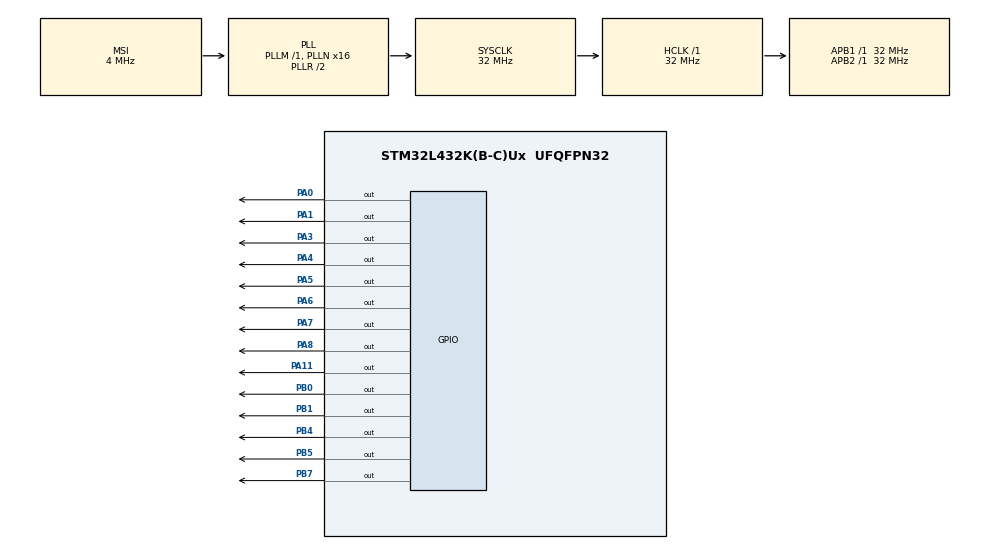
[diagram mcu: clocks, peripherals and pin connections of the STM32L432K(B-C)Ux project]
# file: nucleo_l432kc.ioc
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Mcu.Family=STM32L4
Mcu.Name=STM32L432K(B-C)Ux
Mcu.Package=UFQFPN32
NVIC.PriorityGroup=NVIC_PRIORITYGROUP_4
NVIC.TIM1_BRK_TIM15_IRQn=true\:0\:0\:false\:false\:true\:true\:true\:true
NVIC.TIM1_CC_IRQn=true\:0\:0\:false\:false\:true\:true\:true\:true
NVIC.TIM1_UP_TIM16_IRQn=true\:0\:0\:false\:false\:true\:true\:true\:true
NVIC.TIM2_IRQn=true\:0\:0\:false\:false\:true\:true\:true\:true
PA0.Signal=GPIO_Output
PA1.Signal=GPIO_Output
PA11.Signal=GPIO_Output
PA13\ (JTMS-SWDIO).GPIO_Label=SWDIO
PA13\ (JTMS-SWDIO).Mode=Serial_Wire
PA13\ (JTMS-SWDIO).Signal=SYS_JTMS-SWDIO
PA14\ (JTCK-SWCLK).GPIO_Label=SWCLK
PA14\ (JTCK-SWCLK).Mode=Serial_Wire
PA14\ (JTCK-SWCLK).Signal=SYS_JTCK-SWCLK
PA2.GPIO_Label=VCP_TX
PA2.Signal=USART2_TX
PA3.Signal=GPIO_Output
PA4.Signal=GPIO_Output
PA5.Signal=GPIO_Output
PA6.Signal=GPIO_Output
PA7.Signal=GPIO_Output
PA8.Signal=GPIO_Output
PB0.Signal=GPIO_Output
PB1.Signal=GPIO_Output
PB4\ (NJTRST).Signal=GPIO_Output
PB5.Signal=GPIO_Output
PB7.Signal=GPIO_Output
PC14-OSC32_IN\ (PC14).Mode=LSE-External-Oscillator
PC14-OSC32_IN\ (PC14).Signal=RCC_OSC32_IN
PC15-OSC32_OUT\ (PC15).Mode=LSE-External-Oscillator
PC15-OSC32_OUT\ (PC15).Signal=RCC_OSC32_OUT
ProjectManager.HeapSize=0x200
ProjectManager.StackSize=0x400
ProjectManager.TargetToolchain=STM32CubeIDE
RCC.AHBFreq_Value=32000000
RCC.APB1Freq_Value=32000000
RCC.APB1TimFreq_Value=32000000
RCC.APB2Freq_Value=32000000
RCC.APB2TimFreq_Value=32000000
RCC.CortexFreq_Value=32000000
RCC.HCLKFreq_Value=32000000
RCC.HSE_VALUE=8000000
RCC.HSI16_VALUE=16000000
RCC.HSI48_VALUE=48000000
RCC.HSI_VALUE=16000000
RCC.MSI_VALUE=4000000
RCC.PLLMUL=RCC_PLLMUL_4
RCC.PLLN=16
RCC.SYSCLKFreq_VALUE=32000000
RCC.SYSCLKSource=RCC_SYSCLKSOURCE_PLLCLK
RCC.VCOOutputFreq_Value=64000000
TIM1.Channel-PWM\ Generation1\ No\ Output=TIM_CHANNEL_1
TIM1.Channel-PWM\ Generation2\ No\ Output=TIM_CHANNEL_2
TIM1.Channel-PWM\ Generation3\ No\ Output=TIM_CHANNEL_3
TIM1.Channel-PWM\ Generation4\ No\ Output=TIM_CHANNEL_4
TIM1.Period=20000-1
TIM1.Prescaler=80-1
TIM15.Channel-PWM\ Generation1\ No\ Output=TIM_CHANNEL_1
TIM16.Channel=TIM_CHANNEL_1
TIM2.Channel-PWM\ Generation1\ No\ Output=TIM_CHANNEL_1
TIM2.Channel-PWM\ Generation2\ No\ Output=TIM_CHANNEL_2
TIM2.Channel-PWM\ Generation3\ No\ Output=TIM_CHANNEL_3
TIM2.Channel-PWM\ Generation4\ No\ Output=TIM_CHANNEL_4
TIM2.Period=255
TIM2.Prescaler=1040
VP_TIM15_VS_no_output1.Mode=PWM Generation1 No Output
VP_TIM16_VS_ClockSourceINT.Mode=Enable_Timer
VP_TIM16_VS_no_output1.Mode=PWM Generation1 No Output
VP_TIM1_VS_no_output1.Mode=PWM Generation1 No Output
VP_TIM1_VS_no_output2.Mode=PWM Generation2 No Output
VP_TIM1_VS_no_output3.Mode=PWM Generation3 No Output
VP_TIM1_VS_no_output4.Mode=PWM Generation4 No Output
VP_TIM2_VS_no_output1.Mode=PWM Generation1 No Output
VP_TIM2_VS_no_output2.Mode=PWM Generation2 No Output
VP_TIM2_VS_no_output3.Mode=PWM Generation3 No Output
VP_TIM2_VS_no_output4.Mode=PWM Generation4 No Output
board=NUCLEO-L432KC

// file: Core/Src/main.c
/* USER CODE BEGIN Header */
/**
  ******************************************************************************
  * @file           : main.c
  * @brief          : Main program body
  ******************************************************************************
  * @attention
  *
  * Copyright (c) 2024 STMicroelectronics.
  * All rights reserved.
  *
  * This software is licensed under terms that can be found in the LICENSE file
  * in the root directory of this software component.
  * If no LICENSE file comes with this software, it is provided AS-IS.
  *
  ******************************************************************************
  */
/* USER CODE END Header */
#include "main.h"

TIM_HandleTypeDef htim1;
TIM_HandleTypeDef htim2;
TIM_HandleTypeDef htim15;
TIM_HandleTypeDef htim16;

void SystemClock_Config(void);
static void MX_GPIO_Init(void);
static void MX_TIM1_Init(void);
static void MX_TIM2_Init(void);
static void MX_TIM15_Init(void);
static void MX_TIM16_Init(void);

/* USER CODE BEGIN 0 */

void HAL_TIM_PWM_PulseFinishedCallback(TIM_HandleTypeDef* htim){

	//HAL_GPIO_WritePin(GPIOA, GPIO_PIN_11, 0);

	if(htim->Instance == TIM1 ){
		if(htim->Channel == HAL_TIM_ACTIVE_CHANNEL_2){
					HAL_GPIO_WritePin(GPIOA, GPIO_PIN_11, 0);
			} //funziona D10
		if(htim->Channel == HAL_TIM_ACTIVE_CHANNEL_3){
					HAL_GPIO_WritePin(GPIOA, GPIO_PIN_3, 0);
			} //funziona A2
		if(htim->Channel == HAL_TIM_ACTIVE_CHANNEL_4){
					HAL_GPIO_WritePin(GPIOA, GPIO_PIN_8, 0);
			} // funziona D9

		if(htim->Channel == HAL_TIM_ACTIVE_CHANNEL_1){
					HAL_GPIO_WritePin(GPIOB, GPIO_PIN_1, 0);
				} // funziona D6, rimane un mistero perchè TIM1 channel5 e channel6 non generano PWM
	}

	if(htim->Instance == TIM2){
		if(htim->Channel == HAL_TIM_ACTIVE_CHANNEL_1){
					HAL_GPIO_WritePin(GPIOA, GPIO_PIN_0, 0);
			} //funziona A0
		if(htim->Channel == HAL_TIM_ACTIVE_CHANNEL_3){
					HAL_GPIO_WritePin(GPIOA, GPIO_PIN_6, 0);
			} //funziona A5
		if(htim->Channel == HAL_TIM_ACTIVE_CHANNEL_4){
					HAL_GPIO_WritePin(GPIOA, GPIO_PIN_4, 0);
			} //funzione A3
		if(htim->Channel == HAL_TIM_ACTIVE_CHANNEL_2){
					HAL_GPIO_WritePin(GPIOB, GPIO_PIN_0, 0);
			} //funziona D3
	}
	if(htim->Instance == TIM15){
		if(htim->Channel == HAL_TIM_ACTIVE_CHANNEL_1){
			HAL_GPIO_WritePin(GPIOA, GPIO_PIN_1, 0);
		}
	}
	if(htim->Instance == TIM16){
		if(htim->Channel == HAL_TIM_ACTIVE_CHANNEL_1){
			HAL_GPIO_WritePin(GPIOA, GPIO_PIN_7, 0);
		}
	}
}

void HAL_TIM_PeriodElapsedCallback(TIM_HandleTypeDef* htim){

	 if (htim->Instance == TIM2)
   {

       HAL_GPIO_WritePin(GPIOA, GPIO_PIN_0, 1);
       HAL_GPIO_WritePin(GPIOA, GPIO_PIN_6, 1);
       HAL_GPIO_WritePin(GPIOA, GPIO_PIN_4, 1);
       HAL_GPIO_WritePin(GPIOB, GPIO_PIN_0, 1);
   }

	if (htim->Instance == TIM1){
    	HAL_GPIO_WritePin(GPIOA, GPIO_PIN_11, 1);
    	HAL_GPIO_WritePin(GPIOA, GPIO_PIN_3, 1);
    	HAL_GPIO_WritePin(GPIOA, GPIO_PIN_8, 1);
    	HAL_GPIO_WritePin(GPIOB, GPIO_PIN_1, 1);

    }
	if (htim->Instance == TIM15){
		HAL_GPIO_WritePin(GPIOA, GPIO_PIN_1, 1);
	}
	if (htim->Instance == TIM16){
		HAL_GPIO_WritePin(GPIOA, GPIO_PIN_7, 1);
	}
}

/* USER CODE END 0 */

int main(void)
{

  /* MCU Configuration--------------------------------------------------------*/

  /* Reset of all peripherals, Initializes the Flash interface and the Systick. */
  HAL_Init();

  /* Configure the system clock */
  SystemClock_Config();

  /* Initialize all configured peripherals */
  MX_GPIO_Init();
  MX_TIM1_Init();
  MX_TIM2_Init();
  MX_TIM15_Init();
  MX_TIM16_Init();
  /* USER CODE BEGIN 2 */

  //functions that call PeriodElapsedCallback

  HAL_TIM_Base_Start_IT(&htim2);
  HAL_TIM_Base_Start_IT(&htim1);
  HAL_TIM_Base_Start_IT(&htim15);
  HAL_TIM_Base_Start_IT(&htim16);

  //functions that call PulseFinishedCallback
  HAL_TIM_OC_Start_IT(&htim2,TIM_CHANNEL_1);
  HAL_TIM_OC_Start_IT(&htim2,TIM_CHANNEL_2);
  HAL_TIM_OC_Start_IT(&htim2,TIM_CHANNEL_3);
  HAL_TIM_OC_Start_IT(&htim2,TIM_CHANNEL_4);

  //HAL_TIM_OC_Start_IT(&htim1,TIM_CHANNEL_1);
  HAL_TIM_OC_Start_IT(&htim1,TIM_CHANNEL_1);
  HAL_TIM_OC_Start_IT(&htim1,TIM_CHANNEL_2);
  HAL_TIM_OC_Start_IT(&htim1,TIM_CHANNEL_3);
  HAL_TIM_OC_Start_IT(&htim1,TIM_CHANNEL_4);

  HAL_TIM_OC_Start_IT(&htim15,TIM_CHANNEL_1);
  HAL_TIM_OC_Start_IT(&htim16,TIM_CHANNEL_1);

  htim2.Instance->CCR1=1500;
  htim2.Instance->CCR2=1500;
  htim2.Instance->CCR3=1500;
  htim2.Instance->CCR4=1500;

  htim1.Instance->CCR1 = 1500;
  htim1.Instance->CCR2=1500;
  htim1.Instance->CCR3=1500;
  htim1.Instance->CCR4=1500;

  htim15.Instance->CCR1=127;

  htim16.Instance->CCR1=127;

  /* USER CODE END 2 */

  /* Infinite loop */
  while (1)
  {

  }
}

void SystemClock_Config(void)
{
  RCC_OscInitTypeDef RCC_OscInitStruct = {0};
  RCC_ClkInitTypeDef RCC_ClkInitStruct = {0};

  /** Configure the main internal regulator output voltage
  */
  if (HAL_PWREx_ControlVoltageScaling(PWR_REGULATOR_VOLTAGE_SCALE1) != HAL_OK)
  {
    Error_Handler();
  }

  /** Configure LSE Drive Capability
  */
  HAL_PWR_EnableBkUpAccess();
  __HAL_RCC_LSEDRIVE_CONFIG(RCC_LSEDRIVE_LOW);

  /** Initializes the RCC Oscillators according to the specified parameters
  * in the RCC_OscInitTypeDef structure.
  */
  RCC_OscInitStruct.OscillatorType = RCC_OSCILLATORTYPE_LSE|RCC_OSCILLATORTYPE_MSI;
  RCC_OscInitStruct.LSEState = RCC_LSE_ON;
  RCC_OscInitStruct.MSIState = RCC_MSI_ON;
  RCC_OscInitStruct.MSICalibrationValue = 0;
  RCC_OscInitStruct.MSIClockRange = RCC_MSIRANGE_6;
  RCC_OscInitStruct.PLL.PLLState = RCC_PLL_ON;
  RCC_OscInitStruct.PLL.PLLSource = RCC_PLLSOURCE_MSI;
  RCC_OscInitStruct.PLL.PLLM = 1;
  RCC_OscInitStruct.PLL.PLLN = 16;
  RCC_OscInitStruct.PLL.PLLP = RCC_PLLP_DIV7;
  RCC_OscInitStruct.PLL.PLLQ = RCC_PLLQ_DIV2;
  RCC_OscInitStruct.PLL.PLLR = RCC_PLLR_DIV2;
  if (HAL_RCC_OscConfig(&RCC_OscInitStruct) != HAL_OK)
  {
    Error_Handler();
  }

  /** Initializes the CPU, AHB and APB buses clocks
  */
  RCC_ClkInitStruct.ClockType = RCC_CLOCKTYPE_HCLK|RCC_CLOCKTYPE_SYSCLK
                              |RCC_CLOCKTYPE_PCLK1|RCC_CLOCKTYPE_PCLK2;
  RCC_ClkInitStruct.SYSCLKSource = RCC_SYSCLKSOURCE_PLLCLK;
  RCC_ClkInitStruct.AHBCLKDivider = RCC_SYSCLK_DIV1;
  RCC_ClkInitStruct.APB1CLKDivider = RCC_HCLK_DIV1;
  RCC_ClkInitStruct.APB2CLKDivider = RCC_HCLK_DIV1;

  if (HAL_RCC_ClockConfig(&RCC_ClkInitStruct, FLASH_LATENCY_1) != HAL_OK)
  {
    Error_Handler();
  }

  /** Enable MSI Auto calibration
  */
  HAL_RCCEx_EnableMSIPLLMode();
}

static void MX_TIM1_Init(void)
{

  TIM_MasterConfigTypeDef sMasterConfig = {0};
  TIM_OC_InitTypeDef sConfigOC = {0};
  TIM_BreakDeadTimeConfigTypeDef sBreakDeadTimeConfig = {0};

  htim1.Instance = TIM1;
  htim1.Init.Prescaler = 80-1;
  htim1.Init.CounterMode = TIM_COUNTERMODE_UP;
  htim1.Init.Period = 20000-1;
  htim1.Init.ClockDivision = TIM_CLOCKDIVISION_DIV1;
  htim1.Init.RepetitionCounter = 0;
  htim1.Init.AutoReloadPreload = TIM_AUTORELOAD_PRELOAD_DISABLE;
  if (HAL_TIM_PWM_Init(&htim1) != HAL_OK)
  {
    Error_Handler();
  }
  sMasterConfig.MasterOutputTrigger = TIM_TRGO_RESET;
  sMasterConfig.MasterOutputTrigger2 = TIM_TRGO2_RESET;
  sMasterConfig.MasterSlaveMode = TIM_MASTERSLAVEMODE_DISABLE;
  if (HAL_TIMEx_MasterConfigSynchronization(&htim1, &sMasterConfig) != HAL_OK)
  {
    Error_Handler();
  }
  sConfigOC.OCMode = TIM_OCMODE_PWM1;
  sConfigOC.Pulse = 0;
  sConfigOC.OCPolarity = TIM_OCPOLARITY_HIGH;
  sConfigOC.OCNPolarity = TIM_OCNPOLARITY_HIGH;
  sConfigOC.OCFastMode = TIM_OCFAST_DISABLE;
  sConfigOC.OCIdleState = TIM_OCIDLESTATE_RESET;
  sConfigOC.OCNIdleState = TIM_OCNIDLESTATE_RESET;
  if (HAL_TIM_PWM_ConfigChannel(&htim1, &sConfigOC, TIM_CHANNEL_1) != HAL_OK)
  {
    Error_Handler();
  }
  if (HAL_TIM_PWM_ConfigChannel(&htim1, &sConfigOC, TIM_CHANNEL_2) != HAL_OK)
  {
    Error_Handler();
  }
  if (HAL_TIM_PWM_ConfigChannel(&htim1, &sConfigOC, TIM_CHANNEL_3) != HAL_OK)
  {
    Error_Handler();
  }
  if (HAL_TIM_PWM_ConfigChannel(&htim1, &sConfigOC, TIM_CHANNEL_4) != HAL_OK)
  {
    Error_Handler();
  }
  sBreakDeadTimeConfig.OffStateRunMode = TIM_OSSR_DISABLE;
  sBreakDeadTimeConfig.OffStateIDLEMode = TIM_OSSI_DISABLE;
  sBreakDeadTimeConfig.LockLevel = TIM_LOCKLEVEL_OFF;
  sBreakDeadTimeConfig.DeadTime = 0;
  sBreakDeadTimeConfig.BreakState = TIM_BREAK_DISABLE;
  sBreakDeadTimeConfig.BreakPolarity = TIM_BREAKPOLARITY_HIGH;
  sBreakDeadTimeConfig.BreakFilter = 0;
  sBreakDeadTimeConfig.Break2State = TIM_BREAK2_DISABLE;
  sBreakDeadTimeConfig.Break2Polarity = TIM_BREAK2POLARITY_HIGH;
  sBreakDeadTimeConfig.Break2Filter = 0;
  sBreakDeadTimeConfig.AutomaticOutput = TIM_AUTOMATICOUTPUT_DISABLE;
  if (HAL_TIMEx_ConfigBreakDeadTime(&htim1, &sBreakDeadTimeConfig) != HAL_OK)
  {
    Error_Handler();
  }

}

static void MX_TIM2_Init(void)
{

  TIM_MasterConfigTypeDef sMasterConfig = {0};
  TIM_OC_InitTypeDef sConfigOC = {0};

  htim2.Instance = TIM2;
  htim2.Init.Prescaler = 1040;
  htim2.Init.CounterMode = TIM_COUNTERMODE_UP;
  htim2.Init.Period = 255;
  htim2.Init.ClockDivision = TIM_CLOCKDIVISION_DIV1;
  htim2.Init.AutoReloadPreload = TIM_AUTORELOAD_PRELOAD_DISABLE;
  if (HAL_TIM_PWM_Init(&htim2) != HAL_OK)
  {
    Error_Handler();
  }
  sMasterConfig.MasterOutputTrigger = TIM_TRGO_RESET;
  sMasterConfig.MasterSlaveMode = TIM_MASTERSLAVEMODE_DISABLE;
  if (HAL_TIMEx_MasterConfigSynchronization(&htim2, &sMasterConfig) != HAL_OK)
  {
    Error_Handler();
  }
  sConfigOC.OCMode = TIM_OCMODE_PWM1;
  sConfigOC.Pulse = 0;
  sConfigOC.OCPolarity = TIM_OCPOLARITY_HIGH;
  sConfigOC.OCFastMode = TIM_OCFAST_DISABLE;
  if (HAL_TIM_PWM_ConfigChannel(&htim2, &sConfigOC, TIM_CHANNEL_1) != HAL_OK)
  {
    Error_Handler();
  }
  if (HAL_TIM_PWM_ConfigChannel(&htim2, &sConfigOC, TIM_CHANNEL_2) != HAL_OK)
  {
    Error_Handler();
  }
  if (HAL_TIM_PWM_ConfigChannel(&htim2, &sConfigOC, TIM_CHANNEL_3) != HAL_OK)
  {
    Error_Handler();
  }
  if (HAL_TIM_PWM_ConfigChannel(&htim2, &sConfigOC, TIM_CHANNEL_4) != HAL_OK)
  {
    Error_Handler();
  }

}

static void MX_TIM15_Init(void)
{

  TIM_MasterConfigTypeDef sMasterConfig = {0};
  TIM_OC_InitTypeDef sConfigOC = {0};
  TIM_BreakDeadTimeConfigTypeDef sBreakDeadTimeConfig = {0};

  htim15.Instance = TIM15;
  htim15.Init.Prescaler = 0;
  htim15.Init.CounterMode = TIM_COUNTERMODE_UP;
  htim15.Init.Period = 65535;
  htim15.Init.ClockDivision = TIM_CLOCKDIVISION_DIV1;
  htim15.Init.RepetitionCounter = 0;
  htim15.Init.AutoReloadPreload = TIM_AUTORELOAD_PRELOAD_DISABLE;
  if (HAL_TIM_PWM_Init(&htim15) != HAL_OK)
  {
    Error_Handler();
  }
  sMasterConfig.MasterOutputTrigger = TIM_TRGO_RESET;
  sMasterConfig.MasterSlaveMode = TIM_MASTERSLAVEMODE_DISABLE;
  if (HAL_TIMEx_MasterConfigSynchronization(&htim15, &sMasterConfig) != HAL_OK)
  {
    Error_Handler();
  }
  sConfigOC.OCMode = TIM_OCMODE_PWM1;
  sConfigOC.Pulse = 0;
  sConfigOC.OCPolarity = TIM_OCPOLARITY_HIGH;
  sConfigOC.OCNPolarity = TIM_OCNPOLARITY_HIGH;
  sConfigOC.OCFastMode = TIM_OCFAST_DISABLE;
  sConfigOC.OCIdleState = TIM_OCIDLESTATE_RESET;
  sConfigOC.OCNIdleState = TIM_OCNIDLESTATE_RESET;
  if (HAL_TIM_PWM_ConfigChannel(&htim15, &sConfigOC, TIM_CHANNEL_1) != HAL_OK)
  {
    Error_Handler();
  }
  sBreakDeadTimeConfig.OffStateRunMode = TIM_OSSR_DISABLE;
  sBreakDeadTimeConfig.OffStateIDLEMode = TIM_OSSI_DISABLE;
  sBreakDeadTimeConfig.LockLevel = TIM_LOCKLEVEL_OFF;
  sBreakDeadTimeConfig.DeadTime = 0;
  sBreakDeadTimeConfig.BreakState = TIM_BREAK_DISABLE;
  sBreakDeadTimeConfig.BreakPolarity = TIM_BREAKPOLARITY_HIGH;
  sBreakDeadTimeConfig.AutomaticOutput = TIM_AUTOMATICOUTPUT_DISABLE;
  if (HAL_TIMEx_ConfigBreakDeadTime(&htim15, &sBreakDeadTimeConfig) != HAL_OK)
  {
    Error_Handler();
  }

}

static void MX_TIM16_Init(void)
{

  TIM_OC_InitTypeDef sConfigOC = {0};
  TIM_BreakDeadTimeConfigTypeDef sBreakDeadTimeConfig = {0};

  htim16.Instance = TIM16;
  htim16.Init.Prescaler = 0;
  htim16.Init.CounterMode = TIM_COUNTERMODE_UP;
  htim16.Init.Period = 65535;
  htim16.Init.ClockDivision = TIM_CLOCKDIVISION_DIV1;
  htim16.Init.RepetitionCounter = 0;
  htim16.Init.AutoReloadPreload = TIM_AUTORELOAD_PRELOAD_DISABLE;
  if (HAL_TIM_Base_Init(&htim16) != HAL_OK)
  {
    Error_Handler();
  }
  if (HAL_TIM_PWM_Init(&htim16) != HAL_OK)
  {
    Error_Handler();
  }
  sConfigOC.OCMode = TIM_OCMODE_PWM1;
  sConfigOC.Pulse = 0;
  sConfigOC.OCPolarity = TIM_OCPOLARITY_HIGH;
  sConfigOC.OCNPolarity = TIM_OCNPOLARITY_HIGH;
  sConfigOC.OCFastMode = TIM_OCFAST_DISABLE;
  sConfigOC.OCIdleState = TIM_OCIDLESTATE_RESET;
  sConfigOC.OCNIdleState = TIM_OCNIDLESTATE_RESET;
  if (HAL_TIM_PWM_ConfigChannel(&htim16, &sConfigOC, TIM_CHANNEL_1) != HAL_OK)
  {
    Error_Handler();
  }
  sBreakDeadTimeConfig.OffStateRunMode = TIM_OSSR_DISABLE;
  sBreakDeadTimeConfig.OffStateIDLEMode = TIM_OSSI_DISABLE;
  sBreakDeadTimeConfig.LockLevel = TIM_LOCKLEVEL_OFF;
  sBreakDeadTimeConfig.DeadTime = 0;
  sBreakDeadTimeConfig.BreakState = TIM_BREAK_DISABLE;
  sBreakDeadTimeConfig.BreakPolarity = TIM_BREAKPOLARITY_HIGH;
  sBreakDeadTimeConfig.AutomaticOutput = TIM_AUTOMATICOUTPUT_DISABLE;
  if (HAL_TIMEx_ConfigBreakDeadTime(&htim16, &sBreakDeadTimeConfig) != HAL_OK)
  {
    Error_Handler();
  }

}

static void MX_GPIO_Init(void)
{
  GPIO_InitTypeDef GPIO_InitStruct = {0};

  /* GPIO Ports Clock Enable */
  __HAL_RCC_GPIOC_CLK_ENABLE();
  __HAL_RCC_GPIOA_CLK_ENABLE();
  __HAL_RCC_GPIOB_CLK_ENABLE();

  /*Configure GPIO pin Output Level */
  HAL_GPIO_WritePin(GPIOA, GPIO_PIN_0|GPIO_PIN_1|GPIO_PIN_3|GPIO_PIN_4
                          |GPIO_PIN_5|GPIO_PIN_6|GPIO_PIN_7|GPIO_PIN_8
                          |GPIO_PIN_11, GPIO_PIN_RESET);

  /*Configure GPIO pin Output Level */
  HAL_GPIO_WritePin(GPIOB, GPIO_PIN_0|GPIO_PIN_1|GPIO_PIN_4|GPIO_PIN_5
                          |GPIO_PIN_7, GPIO_PIN_RESET);

  /*Configure GPIO pins : PA0 PA1 PA3 PA4
                           PA5 PA6 PA7 PA8
                           PA11 */
  GPIO_InitStruct.Pin = GPIO_PIN_0|GPIO_PIN_1|GPIO_PIN_3|GPIO_PIN_4
                          |GPIO_PIN_5|GPIO_PIN_6|GPIO_PIN_7|GPIO_PIN_8
                          |GPIO_PIN_11;
  GPIO_InitStruct.Mode = GPIO_MODE_OUTPUT_PP;
  GPIO_InitStruct.Pull = GPIO_NOPULL;
  GPIO_InitStruct.Speed = GPIO_SPEED_FREQ_LOW;
  HAL_GPIO_Init(GPIOA, &GPIO_InitStruct);

  /*Configure GPIO pin : VCP_TX_Pin */
  GPIO_InitStruct.Pin = VCP_TX_Pin;
  GPIO_InitStruct.Mode = GPIO_MODE_AF_PP;
  GPIO_InitStruct.Pull = GPIO_NOPULL;
  GPIO_InitStruct.Speed = GPIO_SPEED_FREQ_VERY_HIGH;
  GPIO_InitStruct.Alternate = GPIO_AF7_USART2;
  HAL_GPIO_Init(VCP_TX_GPIO_Port, &GPIO_InitStruct);

  /*Configure GPIO pins : PB0 PB1 PB4 PB5
                           PB7 */
  GPIO_InitStruct.Pin = GPIO_PIN_0|GPIO_PIN_1|GPIO_PIN_4|GPIO_PIN_5
                          |GPIO_PIN_7;
  GPIO_InitStruct.Mode = GPIO_MODE_OUTPUT_PP;
  GPIO_InitStruct.Pull = GPIO_NOPULL;
  GPIO_InitStruct.Speed = GPIO_SPEED_FREQ_LOW;
  HAL_GPIO_Init(GPIOB, &GPIO_InitStruct);

}

void Error_Handler(void)
{
  __disable_irq();
  while (1)
  {
  }
}
